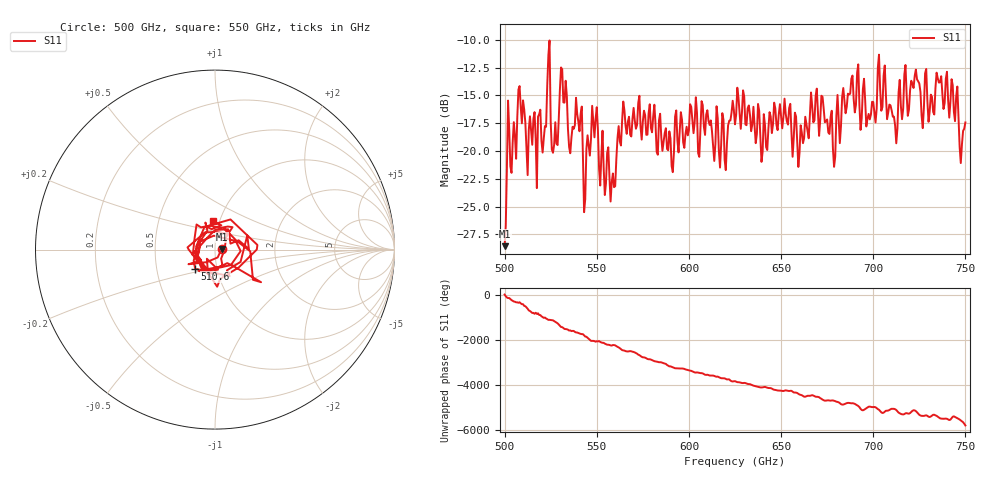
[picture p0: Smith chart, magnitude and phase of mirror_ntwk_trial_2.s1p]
!Created with skrf (http://scikit-rf.org).
# GHz S RI R 50.0
!freq ReS11 ImS11
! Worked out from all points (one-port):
!   401 points, 500 GHz to 750 GHz, reference 50 ohm
!   lowest |S11| = -28.6 dB at 500 GHz (marker M1), VSWR 1.08, Z = 53.8 + j0.452 ohm
!   |S11| at or under -10 dB: start of sweep to end of sweep
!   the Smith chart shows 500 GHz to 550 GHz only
!   S11 on the Smith chart (normalised r, x): 500 GHz: 1.08, +0.01; 510.6 GHz: 0.78, -0.17; 550 GHz: 0.93, +0.30
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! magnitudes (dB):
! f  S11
! 500 GHz  -28.6
! 502.5 GHz  -18.0
! 508.8 GHz  -16.0
! 510.6 GHz  -16.3
! 521.2 GHz  -18.9
! 523.8 GHz  -11.4
! 527.5 GHz  -17.4
! 531.2 GHz  -12.7
! 535.6 GHz  -20.2
! 540.6 GHz  -18.2
! 543.8 GHz  -24.3
! 550 GHz  -16.1
! 558.8 GHz  -22.0
! 562.5 GHz  -19.1
! 593.8 GHz  -19.0
! 620.6 GHz  -19.3
! 625 GHz  -17.6
! 656.2 GHz  -20.5
! 673.1 GHz  -16.2
! 678.8 GHz  -21.4
! 687.5 GHz  -14.8
! 697.5 GHz  -16.7
! 703.8 GHz  -14.5
! 711.9 GHz  -17.7
! 718.8 GHz  -16.8
! 731.2 GHz  -14.9
! 735.6 GHz  -13.8
! 750 GHz  -17.4
